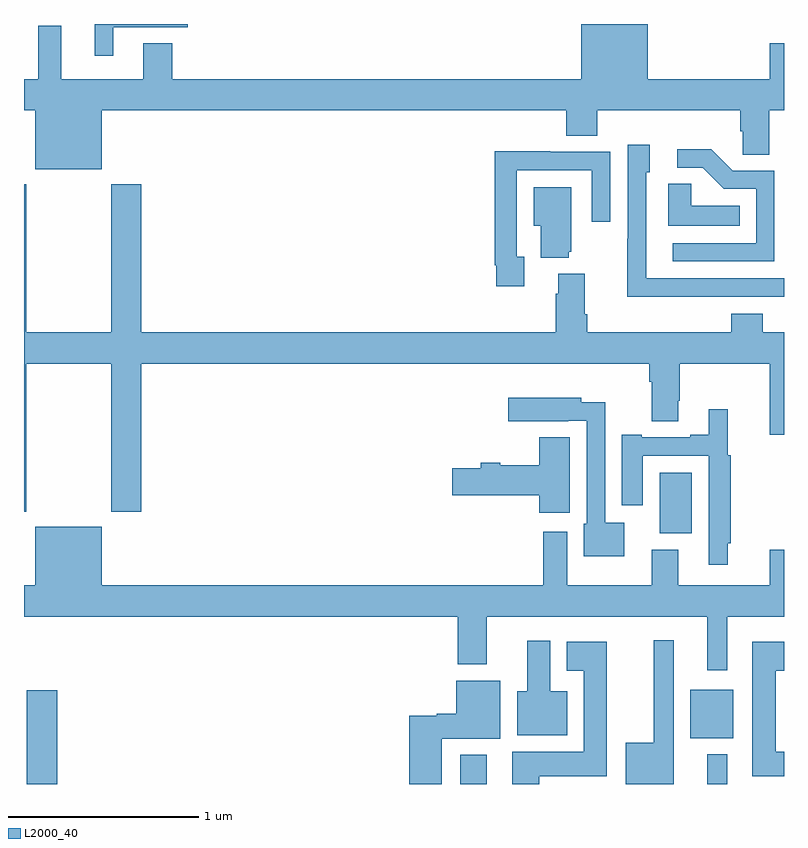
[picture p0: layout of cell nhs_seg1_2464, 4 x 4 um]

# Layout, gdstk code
import gdstk
lib = gdstk.Library(unit=1e-6, precision=1e-09)
def R(c, l, rs):  # rectangles x0, y0, x1, y1
    for r in rs: c.add(gdstk.rectangle(r[:2], r[2:], *l))
def P(c, l, *ps):  # polygons
    for p in ps: c.add(gdstk.Polygon(p, *l))
L2000_40 = (2000, 40)

nhs_seg1_2464 = lib.new_cell('nhs_seg1_2464')
R(nhs_seg1_2464, L2000_40, [(245.014,536.199,245.174,536.692), (247.295,536.199,247.435,536.353), (248.597,536.199,248.701,536.356), (248.507,536.441,248.734,536.695), (248.345,537.518,248.515,537.838)])
P(nhs_seg1_2464, L2000_40, [(245.41,539.744),(247.853,539.744),(247.853,539.611),(248.018,539.611),(248.018,539.744),(248.771,539.744),(248.771,539.635),(248.784,539.635),(248.784,539.512),(248.923,539.512),(248.923,539.744),(249,539.744),(249,540.097),(248.924,540.097),(248.924,539.908),(248.284,539.908),(248.284,540.199),(247.934,540.199),(247.934,539.908),(245.78,539.908),(245.78,540.098),(245.627,540.098),(245.627,539.908),(245.197,539.908),(245.197,540.19),(245.076,540.19),(245.076,539.908),(245,539.908),(245,539.744),(245.06,539.744),(245.06,539.435),(245.41,539.435)],
  [(245.47,540.183),(245.861,540.183),(245.861,540.199),(245.372,540.199),(245.372,540.033),(245.47,540.033)],
  [(248.639,538.764),(249,538.764),(249,538.86),(248.274,538.86),(248.274,539.418),(248.293,539.418),(248.293,539.563),(248.178,539.563),(248.178,539.069),(248.176,539.069),(248.176,538.763),(248.639,538.763)],
  [(248.949,539.427),(248.73,539.427),(248.617,539.54),(248.439,539.54),(248.439,539.442),(248.573,539.442),(248.684,539.331),(248.853,539.331),(248.853,539.046),(248.415,539.046),(248.415,538.95),(248.949,538.95)],
  [(247.633,538.974),(247.593,538.974),(247.593,539.43),(247.989,539.43),(247.989,539.157),(248.085,539.157),(248.085,539.526),(247.769,539.526),(247.769,539.528),(247.477,539.528),(247.477,538.93),(247.485,538.93),(247.485,538.818),(247.633,538.818)],
  [(248.768,539.242),(248.511,539.242),(248.511,539.357),(248.39,539.357),(248.39,539.138),(248.768,539.138)],
  [(245.013,538.412),(245.458,538.412),(245.458,537.633),(245.618,537.633),(245.618,538.412),(248.291,538.412),(248.291,538.316),(248.303,538.316),(248.303,538.108),(248.443,538.108),(248.443,538.216),(248.451,538.216),(248.451,538.412),(248.924,538.412),(248.924,538.038),(249,538.038),(249,538.576),(248.888,538.576),(248.888,538.675),(248.723,538.675),(248.723,538.576),(247.964,538.576),(247.964,538.672),(247.951,538.672),(247.951,538.885),(247.811,538.885),(247.811,538.778),(247.799,538.778),(247.799,538.576),(245.618,538.576),(245.618,539.356),(245.458,539.356),(245.458,538.576),(245.013,538.576),(245.013,539.356),(245,539.356),(245,537.633),(245.013,537.633)],
  [(247.868,539.001),(247.879,539.001),(247.879,539.341),(247.682,539.341),(247.682,539.138),(247.721,539.138),(247.721,538.97),(247.868,538.97)],
  [(248.158,537.574),(248.058,537.574),(248.058,538.208),(247.932,538.208),(247.932,538.231),(247.548,538.231),(247.548,538.109),(247.865,538.109),(247.865,538.11),(247.962,538.11),(247.962,537.57),(247.946,537.57),(247.946,537.398),(248.158,537.398)],
  [(248.703,537.466),(248.72,537.466),(248.72,537.93),(248.703,537.93),(248.703,538.171),(248.603,538.171),(248.603,538.036),(248.507,538.036),(248.507,538.023),(248.251,538.023),(248.251,538.036),(248.147,538.036),(248.147,537.666),(248.257,537.666),(248.257,537.927),(248.604,537.927),(248.604,537.354),(248.703,537.354)],
  [(247.873,538.024),(247.712,538.024),(247.712,537.877),(247.507,537.877),(247.507,537.89),(247.403,537.89),(247.403,537.86),(247.254,537.86),(247.254,537.718),(247.712,537.718),(247.712,537.627),(247.873,537.627)],
  [(248.701,537.08),(249,537.08),(249,537.433),(248.924,537.433),(248.924,537.244),(248.443,537.244),(248.443,537.433),(248.303,537.433),(248.303,537.244),(247.858,537.244),(247.858,537.526),(247.733,537.526),(247.733,537.244),(245.41,537.244),(245.41,537.553),(245.06,537.553),(245.06,537.244),(245,537.244),(245,537.08),(247.283,537.08),(247.283,536.828),(247.435,536.828),(247.435,537.08),(248.597,537.08),(248.597,536.799),(248.701,536.799)],
  [(248.419,536.956),(248.315,536.956),(248.315,536.416),(248.168,536.416),(248.168,536.199),(248.419,536.199)],
  [(247.858,536.686),(247.771,536.686),(247.771,536.953),(247.649,536.953),(247.649,536.686),(247.595,536.686),(247.595,536.456),(247.858,536.456)],
  [(249,536.368),(248.956,536.368),(248.956,536.795),(249,536.795),(249,536.947),(248.834,536.947),(248.834,536.24),(249,536.24)],
  [(247.711,536.24),(248.068,536.24),(248.068,536.947),(247.856,536.947),(247.856,536.795),(247.946,536.795),(247.946,536.368),(247.571,536.368),(247.571,536.199),(247.711,536.199)],
  [(247.198,536.438),(247.507,536.438),(247.507,536.743),(247.274,536.743),(247.274,536.57),(247.172,536.57),(247.172,536.557),(247.028,536.557),(247.028,536.199),(247.198,536.199)])

lib.write_gds('nhs_seg1_2464.gds')
